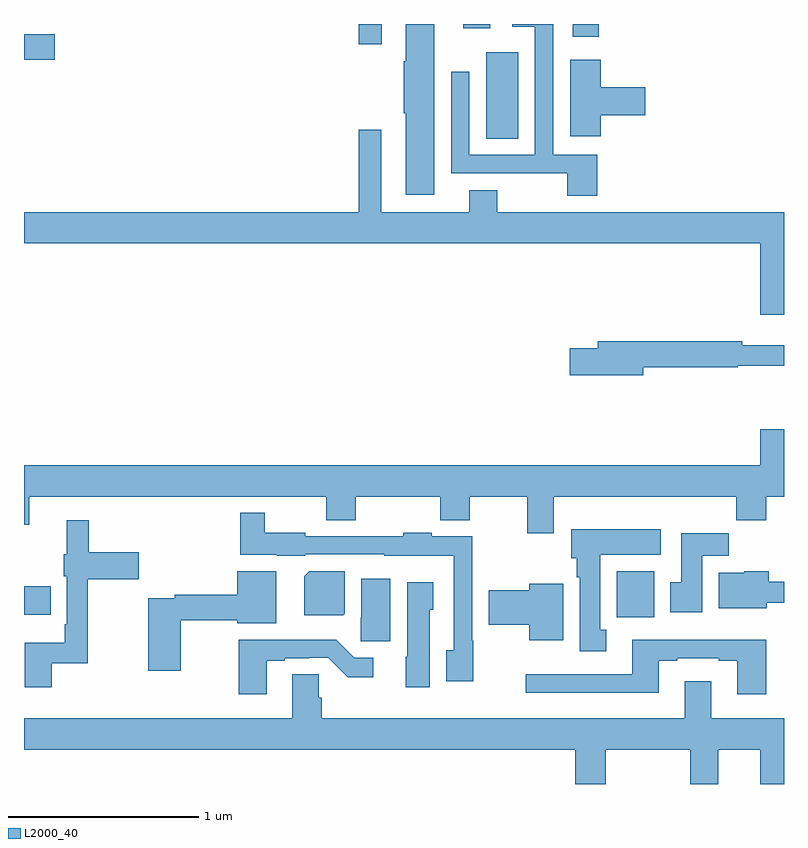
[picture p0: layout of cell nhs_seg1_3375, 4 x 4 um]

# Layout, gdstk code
import gdstk
lib = gdstk.Library(unit=1e-6, precision=1e-09)
def R(c, l, rs):  # rectangles x0, y0, x1, y1
    for r in rs: c.add(gdstk.rectangle(r[:2], r[2:], *l))
def P(c, l, *ps):  # polygons
    for p in ps: c.add(gdstk.Polygon(p, *l))
L2000_40 = (2000, 40)

nhs_seg1_3375 = lib.new_cell('nhs_seg1_3375')
R(nhs_seg1_3375, L2000_40, [(296.12,571.076,296.317,571.318), (293,571.091,293.141,571.239), (295.433,573.595,295.6,574.051), (293,574.01,293.161,574.144), (294.762,574.092,294.883,574.199), (295.889,574.131,296.024,574.199), (295.313,574.176,295.453,574.199)])
P(nhs_seg1_3375, L2000_40, [(295.159,574.199),(295.01,574.199),(295.01,574.004),(294.998,574.004),(294.998,573.73),(295.01,573.73),(295.01,573.3),(295.159,573.3)],
  [(296.018,573.51),(295.785,573.51),(295.785,574.199),(295.569,574.199),(295.569,574.184),(295.689,574.184),(295.689,573.51),(295.344,573.51),(295.344,573.949),(295.248,573.949),(295.248,573.414),(295.592,573.414),(295.592,573.413),(295.858,573.413),(295.858,573.294),(296.018,573.294)],
  [(296.036,573.719),(296.269,573.719),(296.269,573.866),(296.036,573.866),(296.036,574.012),(295.874,574.012),(295.874,573.609),(296.036,573.609)],
  [(297,573.208),(295.491,573.208),(295.491,573.325),(295.343,573.325),(295.343,573.208),(294.88,573.208),(294.88,573.643),(294.763,573.643),(294.763,573.208),(293,573.208),(293,573.044),(296.876,573.044),(296.876,572.67),(297,572.67)],
  [(296.26,572.392),(296.756,572.392),(296.756,572.4),(297,572.4),(297,572.509),(296.78,572.509),(296.78,572.528),(296.021,572.528),(296.021,572.492),(295.872,572.492),(295.872,572.35),(296.26,572.35)],
  [(295.789,571.712),(296.749,571.712),(296.749,571.588),(296.906,571.588),(296.906,571.712),(297,571.712),(297,572.065),(296.876,572.065),(296.876,571.876),(293,571.876),(293,571.563),(293.027,571.563),(293.027,571.712),(294.592,571.712),(294.592,571.588),(294.747,571.588),(294.747,571.712),(295.192,571.712),(295.192,571.588),(295.347,571.588),(295.347,571.712),(295.649,571.712),(295.649,571.518),(295.789,571.518)],
  [(295.364,570.953),(295.359,570.953),(295.359,571.503),(295.146,571.503),(295.146,571.521),(294.996,571.521),(294.996,571.503),(294.48,571.503),(294.48,571.522),(294.268,571.522),(294.268,571.627),(294.139,571.627),(294.139,571.406),(294.33,571.406),(294.33,571.4),(294.48,571.4),(294.48,571.407),(294.897,571.407),(294.897,571.4),(295.263,571.4),(295.263,570.902),(295.223,570.902),(295.223,570.741),(295.364,570.741)],
  [(293.147,570.834),(293.335,570.834),(293.335,571.277),(293.605,571.277),(293.605,571.419),(293.342,571.419),(293.342,571.588),(293.225,571.588),(293.225,571.407),(293.209,571.407),(293.209,571.293),(293.226,571.293),(293.226,571.039),(293.214,571.039),(293.214,570.943),(293.003,570.943),(293.003,570.708),(293.147,570.708)],
  [(296.065,571.01),(296.032,571.01),(296.032,571.406),(296.35,571.406),(296.35,571.54),(295.88,571.54),(295.88,571.386),(295.91,571.386),(295.91,571.286),(295.925,571.286),(295.925,570.897),(296.065,570.897)],
  [(296.569,571.4),(296.708,571.4),(296.708,571.519),(296.459,571.519),(296.459,571.26),(296.402,571.26),(296.402,571.104),(296.569,571.104)],
  [(293.826,571.06),(294.122,571.06),(294.122,571.046),(294.328,571.046),(294.328,571.318),(294.122,571.318),(294.122,571.196),(293.794,571.196),(293.794,571.176),(293.653,571.176),(293.653,570.795),(293.826,570.795)],
  [(294.688,571.096),(294.688,571.318),(294.502,571.318),(294.476,571.292),(294.476,571.088),(294.68,571.088)],
  [(296.908,571.154),(297,571.154),(297,571.264),(296.921,571.264),(296.921,571.318),(296.79,571.318),(296.79,571.312),(296.657,571.312),(296.657,571.124),(296.908,571.124)],
  [(294.928,571.279),(294.776,571.279),(294.776,571.074),(294.772,571.074),(294.772,570.951),(294.928,570.951)],
  [(295.135,571.116),(295.153,571.116),(295.153,571.261),(295.016,571.261),(295.016,570.87),(295.01,570.87),(295.01,570.708),(295.135,570.708)],
  [(295.837,571.252),(295.658,571.252),(295.658,571.22),(295.446,571.22),(295.446,571.037),(295.658,571.037),(295.658,570.956),(295.837,570.956)],
  [(294.277,570.849),(294.373,570.849),(294.373,570.861),(294.5,570.861),(294.5,570.864),(294.6,570.864),(294.703,570.762),(294.838,570.762),(294.838,570.864),(294.738,570.864),(294.643,570.959),(294.13,570.959),(294.13,570.672),(294.277,570.672)],
  [(296.906,570.958),(296.201,570.958),(296.201,570.777),(295.641,570.777),(295.641,570.68),(296.341,570.68),(296.341,570.849),(296.437,570.849),(296.437,570.861),(296.657,570.861),(296.657,570.849),(296.753,570.849),(296.753,570.672),(296.906,570.672)],
  [(296.061,570.38),(296.506,570.38),(296.506,570.199),(296.653,570.199),(296.653,570.38),(296.876,570.38),(296.876,570.199),(297,570.199),(297,570.544),(296.617,570.544),(296.617,570.739),(296.477,570.739),(296.477,570.544),(294.566,570.544),(294.566,570.654),(294.552,570.654),(294.552,570.776),(294.413,570.776),(294.413,570.544),(293,570.544),(293,570.38),(295.901,570.38),(295.901,570.199),(296.061,570.199)])

lib.write_gds('nhs_seg1_3375.gds')
